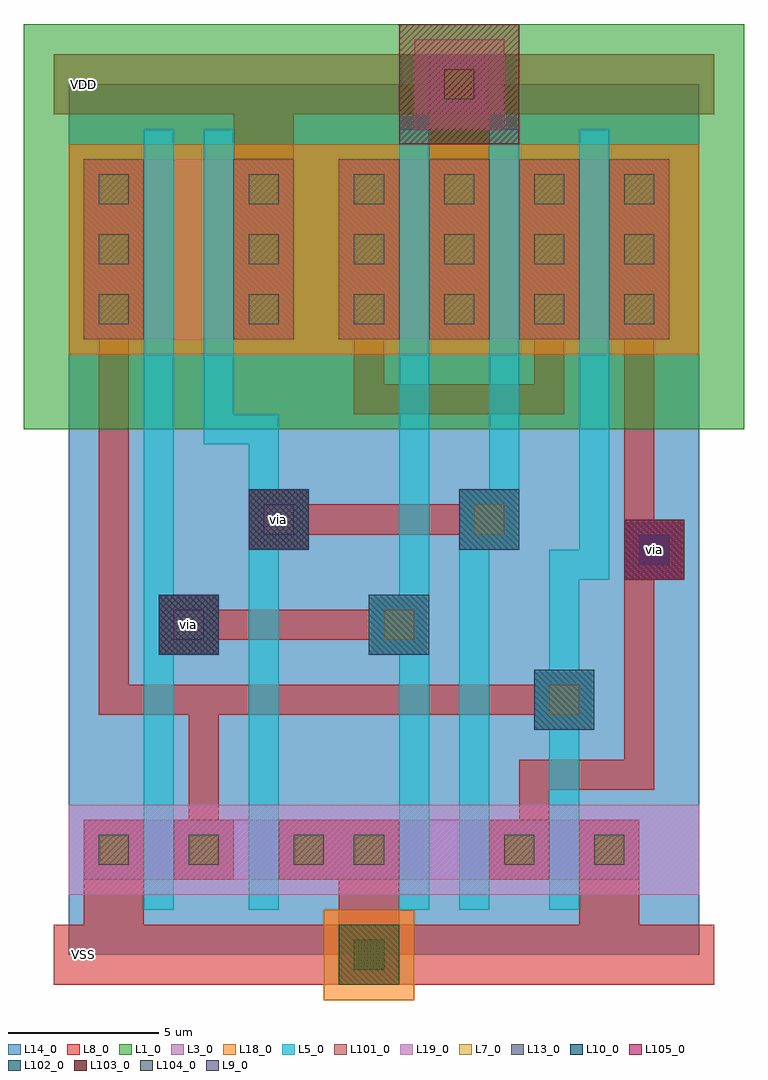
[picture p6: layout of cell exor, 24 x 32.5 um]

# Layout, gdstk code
import gdstk
lib = gdstk.Library(unit=1e-6, precision=1e-09)
def R(c, l, rs):  # rectangles x0, y0, x1, y1
    for r in rs: c.add(gdstk.rectangle(r[:2], r[2:], *l))
L1_0 = (1, 0)
L3_0 = (3, 0)
L5_0 = (5, 0)
L7_0 = (7, 0)
L8_0 = (8, 0)
L9_0 = (9, 0)
L10_0 = (10, 0)
L13_0 = (13, 0)
L14_0 = (14, 0)
L18_0 = (18, 0)
L19_0 = (19, 0)
L101_0 = (101, 0)
L102_0 = (102, 0)
L103_0 = (103, 0)
L104_0 = (104, 0)
L105_0 = (105, 0)

pcont = lib.new_cell('pcont')
R(pcont, L5_0, [(-1,-1,1,1)])
R(pcont, L7_0, [(-0.5,-0.5,0.5,0.5)])
R(pcont, L8_0, [(-1,-1,1,1)])
R(pcont, L102_0, [(-1,-1,1,1)])
pcont.add(gdstk.Label('pcont', (0,0), layer=13, texttype=0))

dcont = lib.new_cell('dcont')
R(dcont, L3_0, [(-1,-1,1,1)])
R(dcont, L7_0, [(-0.5,-0.5,0.5,0.5)])
R(dcont, L8_0, [(-1,-1,1,1)])
R(dcont, L13_0, [(-0.5,-0.5,0.5,0.5)])
R(dcont, L101_0, [(-1,-1,1,1)])
dcont.add(gdstk.Label('dcont', (0,0), layer=13, texttype=0))

via = lib.new_cell('Via')
R(via, L8_0, [(-1,-1,1,1)])
R(via, L9_0, [(-0.5,-0.5,0.5,0.5)])
R(via, L10_0, [(-1,-1,1,1)])
R(via, L13_0, [(-0.5,-0.5,0.5,0.5)])
R(via, L105_0, [(-1,-1,1,1)])
via.add(gdstk.Label('via', (0,0), layer=13, texttype=0))

nsubcont = lib.new_cell('nsubcont')
R(nsubcont, L1_0, [(-2,-2,2,2)])
R(nsubcont, L19_0, [(-1.5,-1.5,1.5,1.5)])
R(nsubcont, L103_0, [(-2,-2,2,2)])
nsubcont.add(gdstk.Reference(dcont, (0,0)))
nsubcont.add(gdstk.Label('NScont', (0,0), layer=13, texttype=0))

psubcont = lib.new_cell('psubcont')
R(psubcont, L18_0, [(-1.5,-1.5,1.5,1.5)])
R(psubcont, L104_0, [(-1,-1,1,1)])
psubcont.add(gdstk.Reference(dcont, (0,0)))
psubcont.add(gdstk.Label('PScon', (0,0), layer=13, texttype=0))

exor = lib.new_cell('exor')
R(exor, L1_0, [(-1.5,17.5,22.5,31)])
R(exor, L3_0, [(0.5,2.5,8.5,4.5), (8.5,2.5,19,4.5), (0.5,20.5,7.5,26.5), (9,20.5,20,26.5)])
R(exor, L8_0, [(-0.5,-1,21.5,1), (3,10,5,12), (18.5,12.5,20.5,14.5), (6,13.5,8,15.5), (-0.5,28,21.5,30)])
R(exor, L10_0, [(3,10,5,12), (18.5,12.5,20.5,14.5), (6,13.5,8,15.5)])
R(exor, L14_0, [(0,0,21,29)])
R(exor, L18_0, [(0,20,21,27)])
R(exor, L19_0, [(0,2,21,5)])
R(exor, L105_0, [(3,10,5,12), (18.5,12.5,20.5,14.5), (6,13.5,8,15.5)])
exor.add(gdstk.FlexPath([(19,21.5),(19,25.5)], 1.4, ends="extended", simple_path=True, layer=8, datatype=0))  # L8_0
exor.add(gdstk.FlexPath([(18,1),(18,3.5)], 2, ends="extended", simple_path=True, layer=8, datatype=0))  # L8_0
exor.add(gdstk.FlexPath([(19,21.8),(19,6),(15.5,6),(15.5,3.5)], 1, ends="extended", simple_path=True, layer=8, datatype=0))  # L8_0
exor.add(gdstk.FlexPath([(16,25.5),(16,18.5),(10,18.5),(10,24.8)], 1, ends="extended", simple_path=True, layer=8, datatype=0))  # L8_0
exor.add(gdstk.FlexPath([(13,21.5),(13,28.5)], 2, ends="extended", simple_path=True, layer=8, datatype=0))  # L8_0
exor.add(gdstk.FlexPath([(7,14.5),(14.2,14.5)], 1, ends="extended", simple_path=True, layer=8, datatype=0))  # L8_0
exor.add(gdstk.FlexPath([(10,1),(10,3.5)], 2, ends="extended", simple_path=True, layer=8, datatype=0))  # L8_0
exor.add(gdstk.FlexPath([(4,11),(11,11)], 1, ends="extended", simple_path=True, layer=8, datatype=0))  # L8_0
exor.add(gdstk.FlexPath([(6.5,21.5),(6.5,28.5)], 2, ends="extended", simple_path=True, layer=8, datatype=0))  # L8_0
exor.add(gdstk.FlexPath([(4.5,8.5),(4.5,3.5)], 1, ends="extended", simple_path=True, layer=8, datatype=0))  # L8_0
exor.add(gdstk.FlexPath([(1.5,1),(1.5,3.5)], 2, ends="extended", simple_path=True, layer=8, datatype=0))  # L8_0
exor.add(gdstk.FlexPath([(1.5,22.3),(1.5,25.5)], 1.4, ends="extended", simple_path=True, layer=8, datatype=0))  # L8_0
exor.add(gdstk.FlexPath([(16.7,8.5),(1.5,8.5),(1.5,25.5)], 1, ends="extended", simple_path=True, layer=8, datatype=0))  # L8_0
exor.add(gdstk.FlexPath([(17.5,27),(17.5,13),(16.5,13),(16.5,2)], 1, ends="extended", simple_path=True, layer=5, datatype=0))  # L5_0
exor.add(gdstk.FlexPath([(14.5,27),(14.5,14.5),(13.5,14.5),(13.5,2)], 1, ends="extended", simple_path=True, layer=5, datatype=0))  # L5_0
exor.add(gdstk.FlexPath([(5,27),(5,17.5),(6.5,17.5),(6.5,2)], 1, ends="extended", simple_path=True, layer=5, datatype=0))  # L5_0
exor.add(gdstk.FlexPath([(11.5,27),(11.5,2)], 1, ends="extended", simple_path=True, layer=5, datatype=0))  # L5_0
exor.add(gdstk.FlexPath([(3,27),(3,2)], 1, ends="extended", simple_path=True, layer=5, datatype=0))  # L5_0
exor.add(gdstk.Reference(pcont, (11,11)))
exor.add(gdstk.Reference(dcont, (16,25.5)))
exor.add(gdstk.Reference(via, (7,14.5)))
exor.add(gdstk.Reference(via, (19.5,13.5)))
exor.add(gdstk.Reference(dcont, (19,23.5)))
exor.add(gdstk.Reference(dcont, (19,21.5)))
exor.add(gdstk.Reference(dcont, (6.5,21.5)))
exor.add(gdstk.Reference(dcont, (13,21.5)))
exor.add(gdstk.Reference(dcont, (10,23.5)))
exor.add(gdstk.Reference(dcont, (16,21.5)))
exor.add(gdstk.Reference(dcont, (10,21.5)))
exor.add(gdstk.Reference(dcont, (1.5,21.5)))
exor.add(gdstk.Reference(dcont, (4.5,3.5)))
exor.add(gdstk.Reference(dcont, (1.5,3.5)))
exor.add(gdstk.Reference(dcont, (1.5,25.5)))
exor.add(gdstk.Reference(pcont, (16.5,8.5)))
exor.add(gdstk.Reference(dcont, (18,3.5)))
exor.add(gdstk.Reference(dcont, (16,23.5)))
exor.add(gdstk.Reference(via, (4,11)))
exor.add(gdstk.Reference(nsubcont, (13,29)))
exor.add(gdstk.Reference(dcont, (10,25.5)))
exor.add(gdstk.Reference(dcont, (15,3.5)))
exor.add(gdstk.Reference(pcont, (4,11)))
exor.add(gdstk.Reference(dcont, (6.5,25.5)))
exor.add(gdstk.Reference(dcont, (10,3.5)))
exor.add(gdstk.Reference(dcont, (6.5,23.5)))
exor.add(gdstk.Reference(dcont, (19,25.5)))
exor.add(gdstk.Reference(dcont, (8,3.5)))
exor.add(gdstk.Reference(dcont, (13,23.5)))
exor.add(gdstk.Reference(pcont, (14,14.5)))
exor.add(gdstk.Reference(dcont, (13,25.5)))
exor.add(gdstk.Reference(pcont, (7,14.5)))
exor.add(gdstk.Reference(psubcont, (10,0)))
exor.add(gdstk.Reference(dcont, (1.5,23.5)))
exor.add(gdstk.Label('VDD', (0.5,29), layer=8, texttype=0))
exor.add(gdstk.Label('VSS', (0.5,0), layer=8, texttype=0))
exor.add(gdstk.Label('via', (19.5,13.5), layer=13, texttype=0))
exor.add(gdstk.Label('via', (4,11), layer=13, texttype=0))
exor.add(gdstk.Label('via', (7,14.5), layer=13, texttype=0))
exor.add(gdstk.Label('B', (4,11), layer=10, texttype=0))
exor.add(gdstk.Label('A', (7,14.5), layer=10, texttype=0))
exor.add(gdstk.Label('X', (19.5,13.5), layer=10, texttype=0))

lib.write_gds('exor.gds')
